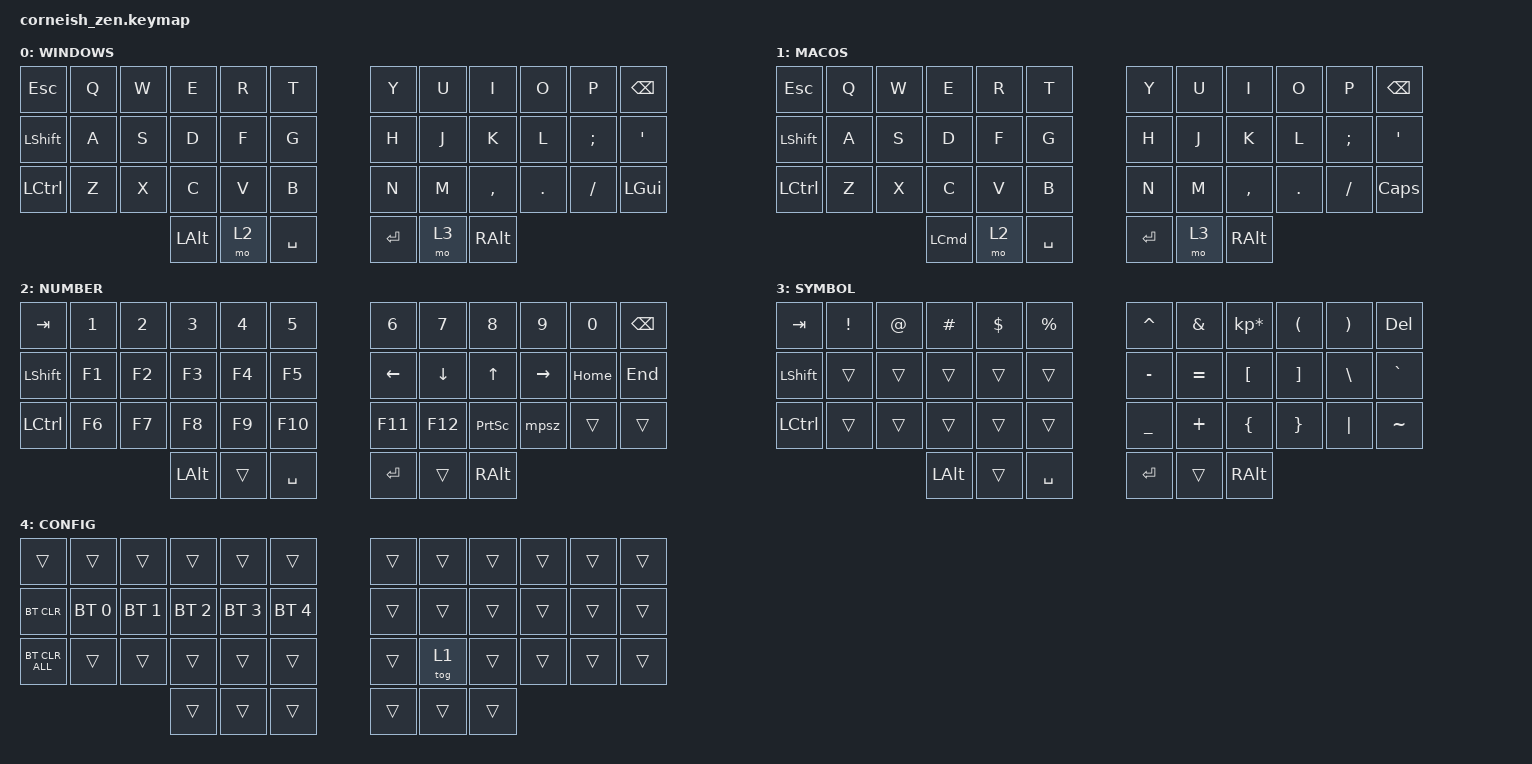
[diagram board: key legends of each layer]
#include <behaviors.dtsi>
#include <dt-bindings/zmk/bt.h>
#include <dt-bindings/zmk/keys.h>

/ {
    chosen {
        zmk,matrix_transform = &default_transform;
        //zmk,matrix_transform = &five_column_transform;
    };
};

/ {

    macros {
        mpsz: mpsz {
            label = "macos print screen zone";
            compatible = "zmk,behavior-macro";
            #binding-cells = <0>;
            bindings 
                = <&macro_press &kp LSHIFT &kp LCMD &kp N4>
                , <&macro_release &kp LSHIFT &kp LCMD &kp N4>
                ;
        };
    };

    keymap {
        compatible = "zmk,keymap";

        default_layer {
            label = "WINDOWS";

            // -----------------------------------------------------------------------------------------
            // | ESC  |  Q  |  W  |  E  |  R  |  T  |   |  Y  |  U   |  I  |  O  |  P  | BKSP |
            // | SHFT |  A  |  S  |  D  |  F  |  G  |   |  H  |  J   |  K  |  L  |  ;  |  '   |
            // | CTRL |  Z  |  X  |  C  |  V  |  B  |   |  N  |  M   |  ,  |  .  |  /  | GUI  |
            //                    | LALT| LWR | SPC |   | ENT | RSE  | RALT|

            bindings = <
&kp ESC    &kp Q  &kp W  &kp E     &kp R  &kp T        &kp Y    &kp U  &kp I      &kp O    &kp P     &kp BSPC
&kp LSHFT  &kp A  &kp S  &kp D     &kp F  &kp G        &kp H    &kp J  &kp K      &kp L    &kp SEMI  &kp SQT
&kp LCTRL  &kp Z  &kp X  &kp C     &kp V  &kp B        &kp N    &kp M  &kp COMMA  &kp DOT  &kp FSLH  &kp LEFT_GUI
                         &kp LALT  &mo 2  &kp SPACE    &kp RET  &mo 3  &kp RALT 
            >;
        };

         macos_layer {
            label = "MACOS";

            // -----------------------------------------------------------------------------------------
            // | ESC  |  Q  |  W  |  E  |  R  |  T  |   |  Y  |  U   |  I  |  O  |  P  | BKSP |
            // | SHFT |  A  |  S  |  D  |  F  |  G  |   |  H  |  J   |  K  |  L  |  ;  |  '   |
            // | CTRL |  Z  |  X  |  C  |  V  |  B  |   |  N  |  M   |  ,  |  .  |  /  | CAPS |
            //                    | CMD | LWR | SPC |   | ENT | RSE  | CAPS|

            bindings = <
&kp ESC    &kp Q  &kp W  &kp E     &kp R  &kp T        &kp Y    &kp U  &kp I      &kp O    &kp P     &kp BSPC
&kp LSHFT  &kp A  &kp S  &kp D     &kp F  &kp G        &kp H    &kp J  &kp K      &kp L    &kp SEMI  &kp SQT
&kp LCTRL  &kp Z  &kp X  &kp C     &kp V  &kp B        &kp N    &kp M  &kp COMMA  &kp DOT  &kp FSLH  &kp CAPS 
                         &kp LCMD  &mo 2  &kp SPACE    &kp RET  &mo 3  &kp RALT 
            >;
        };

        lower_layer {
            label = "NUMBER";

            // -----------------------------------------------------------------------------------------
            // |  TAB |  1  |  2  |  3  |  4  |  5  |   |  6  |  7  |  8  |  9  |  0  | BKSP |
            // | SHFT |  F1 |  F2 |  F3 |  F4 |  F5 |   | LFT | DWN |  UP | RGT | HOME| END  |
            // | CTRL |  F6 |  F7 |  F8 |  F9 |     |   |     |     |PSCRN|MACRO|     |      |
            //                    | GUI |     | SPC |   | ENT |     | RALT|

            bindings = <
&kp TAB    &kp N1  &kp N2  &kp N3    &kp N4  &kp N5       &kp N6    &kp N7    &kp N8     &kp N9     &kp N0    &kp BSPC
&kp LSHFT  &kp F1  &kp F2  &kp F3    &kp F4  &kp F5       &kp LEFT  &kp DOWN  &kp UP     &kp RIGHT  &kp HOME  &kp END
&kp LCTRL  &kp F6  &kp F7  &kp F8    &kp F9  &kp F10      &kp F11   &kp F12   &kp PSCRN  &mpsz      &trans    &trans
                           &kp LALT  &trans  &kp SPACE    &kp RET   &trans    &kp RALT 
            >;
        };

        rise_layer {
            label = "SYMBOL";

            // -----------------------------------------------------------------------------------------
            // |  TAB |  !  |  @  |  #  |  $  |  %  |   |  ^  |  &  |  *  |  (  |  )  |  DEL |
            // | SHFT |     |     |     |     |     |   |  -  |  =  |  [  |  ]  |  \  |  `   |
            // | CTRL |     |     |     |     |     |   |  _  |  +  |  {  |  }  | "|" |  ~   |
            //                    |LALT |     | SPC |   | ENT |     |RALT |

            bindings = <
&kp TAB    &kp EXCL  &kp AT  &kp HASH  &kp DLLR  &kp PRCNT    &kp CARET  &kp AMPS   &kp KP_MULTIPLY  &kp LPAR  &kp RPAR  &kp DEL
&kp LSHFT  &trans    &trans  &trans    &trans    &trans       &kp MINUS  &kp EQUAL  &kp LBKT         &kp RBKT  &kp BSLH  &kp GRAVE
&kp LCTRL  &trans    &trans  &trans    &trans    &trans       &kp UNDER  &kp PLUS   &kp LBRC         &kp RBRC  &kp PIPE  &kp TILDE
                             &kp LALT  &trans    &kp SPACE    &kp RET    &trans     &kp RALT 
            >;
        };

        config_layer {
            bindings = <
&trans          &trans        &trans        &trans        &trans        &trans          &trans  &trans  &trans  &trans  &trans  &trans
&bt BT_CLR      &bt BT_SEL 0  &bt BT_SEL 1  &bt BT_SEL 2  &bt BT_SEL 3  &bt BT_SEL 4    &trans  &trans  &trans  &trans  &trans  &trans
&bt BT_CLR_ALL  &trans        &trans        &trans        &trans        &trans          &trans  &tog 1  &trans  &trans  &trans  &trans
                                            &trans        &trans        &trans          &trans  &trans  &trans
            >;

            label = "CONFIG";
        };
    };

    conditional_layers {
        compatible = "zmk,conditional-layers";

        config_layer {
            if-layers = <2 3>;
            then-layer = <4>;
        };
    };
};
